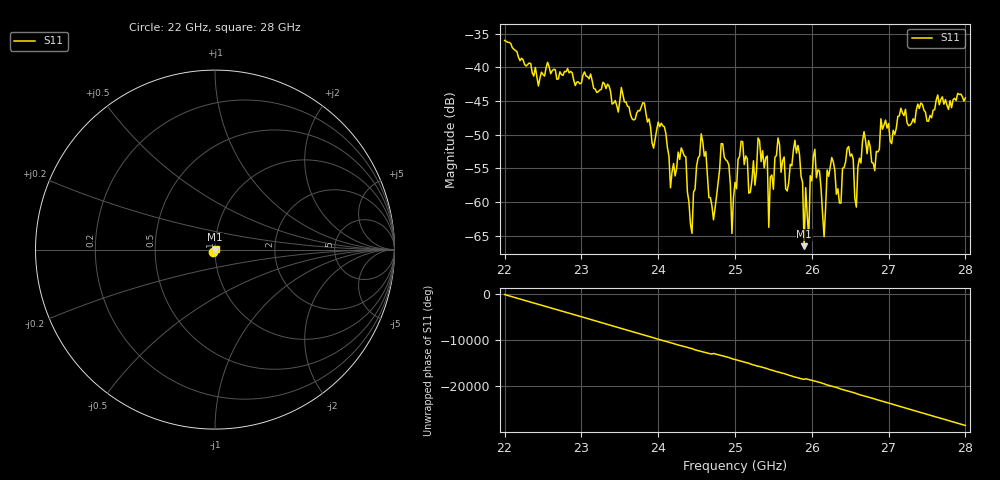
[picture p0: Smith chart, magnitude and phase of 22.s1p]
#  HZ  S  RI  R  50.00
! Rohde & Schwarz ZVA40 4Ports - Version 3.90 - 1145.1110k42 SN: 100403
! Date: 2023-10-04 10:29:05
! Measurement: S12
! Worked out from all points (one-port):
!   301 points, 22 GHz to 28 GHz, reference 50 ohm
!   lowest |S11| = -66.5 dB at 25.9 GHz (marker M1), VSWR 1.00, Z = 50 - j0.0471 ohm
!   |S11| at or under -10 dB: start of sweep to end of sweep
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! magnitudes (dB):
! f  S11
! 22 GHz  -36.0
! 22.76 GHz  -41.2
! 23.5 GHz  -45.0
! 24.26 GHz  -52.6
! 24.44 GHz  -64.6
! 24.56 GHz  -49.9
! 24.72 GHz  -62.6
! 24.82 GHz  -51.3
! 24.96 GHz  -64.7
! 25 GHz  -57.1
! 25.3 GHz  -50.5
! 25.42 GHz  -53.2
! 25.44 GHz  -63.7
! 25.56 GHz  -50.5
! 25.68 GHz  -58.3
! 25.76 GHz  -52.3
! 25.84 GHz  -52.9
! 25.9 GHz  -66.5
! 25.92 GHz  -57.9
! 25.96 GHz  -65.4
! 26.04 GHz  -52.2
! 26.16 GHz  -65.1
! 26.2 GHz  -55.2
! 26.5 GHz  -53.2
! 26.58 GHz  -60.7
! 26.68 GHz  -49.5
! 27.26 GHz  -48.7
! 28 GHz  -44.5
